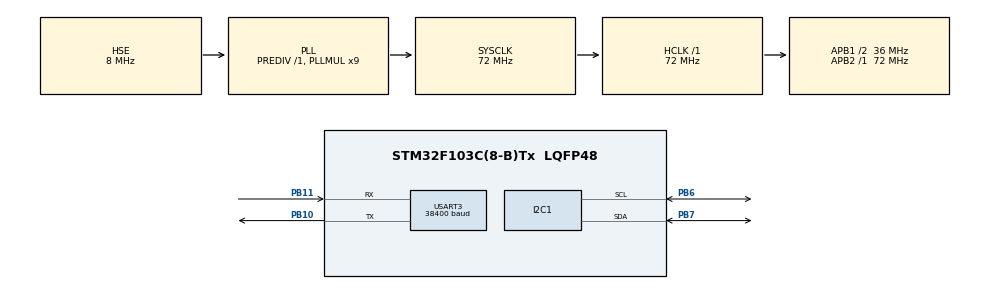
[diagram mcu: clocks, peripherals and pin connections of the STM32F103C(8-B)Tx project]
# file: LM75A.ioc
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Mcu.Family=STM32F1
Mcu.Name=STM32F103C(8-B)Tx
Mcu.Package=LQFP48
NVIC.PriorityGroup=NVIC_PRIORITYGROUP_4
PA13.Mode=Serial_Wire
PA13.Signal=SYS_JTMS-SWDIO
PA14.Mode=Serial_Wire
PA14.Signal=SYS_JTCK-SWCLK
PB10.Mode=Asynchronous
PB10.Signal=USART3_TX
PB11.Mode=Asynchronous
PB11.Signal=USART3_RX
PB6.Mode=I2C
PB6.Signal=I2C1_SCL
PB7.Mode=I2C
PB7.Signal=I2C1_SDA
PD0-OSC_IN.Mode=HSE-External-Oscillator
PD0-OSC_IN.Signal=RCC_OSC_IN
PD1-OSC_OUT.Mode=HSE-External-Oscillator
PD1-OSC_OUT.Signal=RCC_OSC_OUT
ProjectManager.HeapSize=0x200
ProjectManager.StackSize=0x400
ProjectManager.TargetToolchain=TrueSTUDIO
RCC.AHBFreq_Value=72000000
RCC.APB1CLKDivider=RCC_HCLK_DIV2
RCC.APB1Freq_Value=36000000
RCC.APB1TimFreq_Value=72000000
RCC.APB2Freq_Value=72000000
RCC.APB2TimFreq_Value=72000000
RCC.HCLKFreq_Value=72000000
RCC.PLLMUL=RCC_PLL_MUL9
RCC.PLLSourceVirtual=RCC_PLLSOURCE_HSE
RCC.SYSCLKFreq_VALUE=72000000
RCC.SYSCLKSource=RCC_SYSCLKSOURCE_PLLCLK
RCC.USBFreq_Value=72000000
USART3.BaudRate=38400
USART3.VirtualMode=VM_ASYNC
board=custom

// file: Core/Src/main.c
/* USER CODE BEGIN Header */
/**
  ******************************************************************************
  * @file           : main.c
  * @brief          : Main program body
  ******************************************************************************
  * @attention
  *
  * <h2><center>&copy; Copyright (c) 2021 STMicroelectronics.
  * All rights reserved.</center></h2>
  *
  * This software component is licensed by ST under BSD 3-Clause license,
  * the "License"; You may not use this file except in compliance with the
  * License. You may obtain a copy of the License at:
  *                        opensource.org/licenses/BSD-3-Clause
  *
  ******************************************************************************
  */
/* USER CODE END Header */
#include "main.h"

/* USER CODE BEGIN Includes */
#include <string.h>
#include <stdio.h>
#include "i2c-lcd.h"
#include "LM75.h"

float T_cel;
float T_far;
float THYST;
float TOS;
/* USER CODE END Includes */

I2C_HandleTypeDef hi2c1;

UART_HandleTypeDef huart3;

void SystemClock_Config(void);
static void MX_GPIO_Init(void);
static void MX_I2C1_Init(void);
static void MX_USART3_UART_Init(void);

/* USER CODE BEGIN 0 */

#define DS3231_ADDRESS 0xD0

// Convert normal decimal numbers to binary coded decimal
uint8_t decToBcd(int val)
{
  return (uint8_t)( (val/10*16) + (val%10) );
}
// Convert binary coded decimal to normal decimal numbers
int bcdToDec(uint8_t val)
{
  return (int)( (val/16*10) + (val%16) );
}

typedef struct {
	uint8_t seconds;
	uint8_t minutes;
	uint8_t hour;
	uint8_t dayofweek;
	uint8_t dayofmonth;
	uint8_t month;
	uint8_t year;
} TIME;

TIME time;

// function to set time
void Set_Time (uint8_t sec, uint8_t min, uint8_t hour, uint8_t dow, uint8_t dom, uint8_t month, uint8_t year)
{
	uint8_t set_time[7];
	set_time[0] = decToBcd(sec);
	set_time[1] = decToBcd(min);
	set_time[2] = decToBcd(hour);
	set_time[3] = decToBcd(dow);
	set_time[4] = decToBcd(dom);
	set_time[5] = decToBcd(month);
	set_time[6] = decToBcd(year);

	HAL_I2C_Mem_Write(&hi2c1, DS3231_ADDRESS, 0x00, 1, set_time, 7, 1000);
}

void Get_Time (void)
{
	uint8_t get_time[7];
	HAL_I2C_Mem_Read(&hi2c1, DS3231_ADDRESS, 0x00, 1, get_time, 7, 1000);
	time.seconds = bcdToDec(get_time[0]);
	time.minutes = bcdToDec(get_time[1]);
	time.hour = bcdToDec(get_time[2]);
	time.dayofweek = bcdToDec(get_time[3]);
	time.dayofmonth = bcdToDec(get_time[4]);
	time.month = bcdToDec(get_time[5]);
	time.year = bcdToDec(get_time[6]);
}

/* USER CODE END 0 */

int main(void)
{
  THYST = LM75_THYST_Read();
  TOS = LM75_TOS_Read();
  uint8_t buffer[15];	//Buffer untuk line 1
  /* USER CODE END 1 */

  /* MCU Configuration--------------------------------------------------------*/

  /* Reset of all peripherals, Initializes the Flash interface and the Systick. */
  HAL_Init();

  /* Configure the system clock */
  SystemClock_Config();

  /* Initialize all configured peripherals */
  MX_GPIO_Init();
  MX_I2C1_Init();
  MX_USART3_UART_Init();
  /* USER CODE BEGIN 2 */
  lcd_init();

  // Ngeset Waktu
  //Set_Time(00, 45, 22, 1, 20, 12, 21);

  /* USER CODE END 2 */

  /* Infinite loop */
  /* USER CODE BEGIN WHILE */
  while (1)
  {
	 T_cel =  LM75_TemperatureRead();
	 T_cel *= 100;
	 T_far = (T_cel*9/5)+3200;
	 // Temperature Celcius
	 sprintf((char*)buffer,
			 "Celcius : %u.%u C",
			 ((unsigned int)T_cel / 100),
			 ((unsigned int)T_cel % 100));
	 lcd_send_cmd (0x80|0x14); //Print ke Line 3 LCD
	 lcd_send_string(buffer);
	 // Temperature Fahrenheit
	 sprintf((char*)buffer,
			 "Fahrenheit : %u.%u F",
			 ((unsigned int)T_far / 100),
			 ((unsigned int)T_far % 100));
	 lcd_send_cmd (0x80|0x54); //Print ke Line 4 LCD
	 lcd_send_string(buffer);
	 // Hour-Minutes-Seconds
	 Get_Time();
	 sprintf (buffer, "%02d:%02d:%02d", time.hour, time.minutes, time.seconds);
	 lcd_send_cmd (0x80|0x06);
	 lcd_send_string(buffer); //Print ke Line 1 LCD
	 // Day-Month-Year
	 sprintf (buffer, "%02d-%02d-20%02d", time.dayofmonth, time.month, time.year);
	 lcd_send_cmd (0x80|0x45);
	 lcd_send_string(buffer); //Print ke Line 2 LCD
	 // Wait
	 HAL_Delay (1000);
	 lcd_clear();

    /* USER CODE END WHILE */

  }
}

void SystemClock_Config(void)
{
  RCC_OscInitTypeDef RCC_OscInitStruct = {0};
  RCC_ClkInitTypeDef RCC_ClkInitStruct = {0};

  /** Initializes the RCC Oscillators according to the specified parameters
  * in the RCC_OscInitTypeDef structure.
  */
  RCC_OscInitStruct.OscillatorType = RCC_OSCILLATORTYPE_HSE;
  RCC_OscInitStruct.HSEState = RCC_HSE_ON;
  RCC_OscInitStruct.HSEPredivValue = RCC_HSE_PREDIV_DIV1;
  RCC_OscInitStruct.HSIState = RCC_HSI_ON;
  RCC_OscInitStruct.PLL.PLLState = RCC_PLL_ON;
  RCC_OscInitStruct.PLL.PLLSource = RCC_PLLSOURCE_HSE;
  RCC_OscInitStruct.PLL.PLLMUL = RCC_PLL_MUL9;
  if (HAL_RCC_OscConfig(&RCC_OscInitStruct) != HAL_OK)
  {
    Error_Handler();
  }
  /** Initializes the CPU, AHB and APB buses clocks
  */
  RCC_ClkInitStruct.ClockType = RCC_CLOCKTYPE_HCLK|RCC_CLOCKTYPE_SYSCLK
                              |RCC_CLOCKTYPE_PCLK1|RCC_CLOCKTYPE_PCLK2;
  RCC_ClkInitStruct.SYSCLKSource = RCC_SYSCLKSOURCE_PLLCLK;
  RCC_ClkInitStruct.AHBCLKDivider = RCC_SYSCLK_DIV1;
  RCC_ClkInitStruct.APB1CLKDivider = RCC_HCLK_DIV2;
  RCC_ClkInitStruct.APB2CLKDivider = RCC_HCLK_DIV1;

  if (HAL_RCC_ClockConfig(&RCC_ClkInitStruct, FLASH_LATENCY_2) != HAL_OK)
  {
    Error_Handler();
  }
}

static void MX_I2C1_Init(void)
{

  hi2c1.Instance = I2C1;
  hi2c1.Init.ClockSpeed = 100000;
  hi2c1.Init.DutyCycle = I2C_DUTYCYCLE_2;
  hi2c1.Init.OwnAddress1 = 0;
  hi2c1.Init.AddressingMode = I2C_ADDRESSINGMODE_7BIT;
  hi2c1.Init.DualAddressMode = I2C_DUALADDRESS_DISABLE;
  hi2c1.Init.OwnAddress2 = 0;
  hi2c1.Init.GeneralCallMode = I2C_GENERALCALL_DISABLE;
  hi2c1.Init.NoStretchMode = I2C_NOSTRETCH_DISABLE;
  if (HAL_I2C_Init(&hi2c1) != HAL_OK)
  {
    Error_Handler();
  }

}

static void MX_USART3_UART_Init(void)
{

  huart3.Instance = USART3;
  huart3.Init.BaudRate = 38400;
  huart3.Init.WordLength = UART_WORDLENGTH_8B;
  huart3.Init.StopBits = UART_STOPBITS_1;
  huart3.Init.Parity = UART_PARITY_NONE;
  huart3.Init.Mode = UART_MODE_TX_RX;
  huart3.Init.HwFlowCtl = UART_HWCONTROL_NONE;
  huart3.Init.OverSampling = UART_OVERSAMPLING_16;
  if (HAL_UART_Init(&huart3) != HAL_OK)
  {
    Error_Handler();
  }

}

static void MX_GPIO_Init(void)
{

  /* GPIO Ports Clock Enable */
  __HAL_RCC_GPIOD_CLK_ENABLE();
  __HAL_RCC_GPIOB_CLK_ENABLE();
  __HAL_RCC_GPIOA_CLK_ENABLE();

}

void Error_Handler(void)
{
  __disable_irq();
  while (1)
  {
  }
}

/************************ (C) COPYRIGHT STMicroelectronics *****END OF FILE****/
